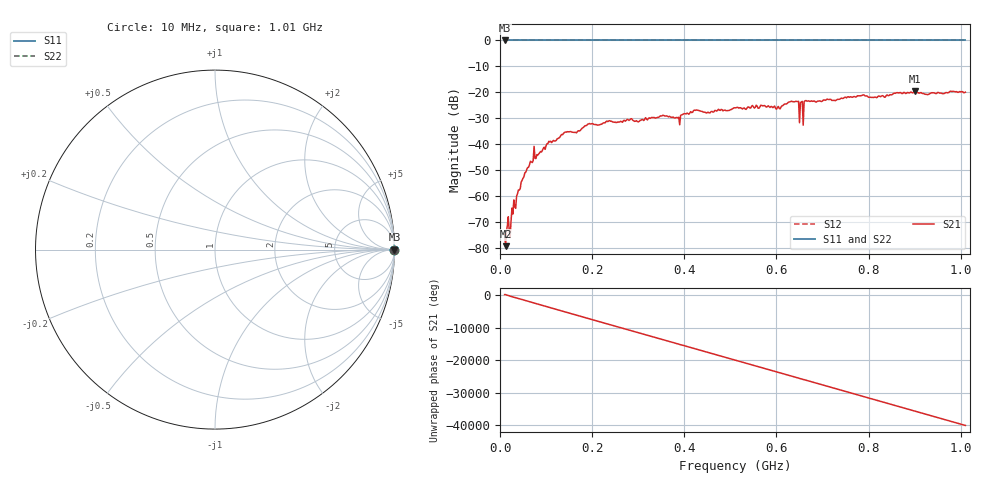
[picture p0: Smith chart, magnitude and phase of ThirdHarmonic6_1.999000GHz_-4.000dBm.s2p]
! 8/17/2025 12:00:56 AM
! C:\ANRITSUVNA\TEMP\TEMP.S2P
! CHANNEL.1
! TR.MEASUREMENT
! RAW.DATA
! RF.CORRECTION.OFF
! AVERAGING.OFF
! IF.BANDWIDTH: 5KHZ
! SWEEPTYPE:  FREQ.SWEEP(Linear)
! Reference Plane Port Info
! PORT:  PORT1  PORT2
! DISTANCE:  0  m  0  m
! TIME:  0  s  0  s
! PHASE.OFFSET:  0  deg.  0  deg.
! LOSS:  0  dB  0  dB
! REF.LOSS:  0  dB  0  dB
! REF.FREQ:  0  Hz  0  Hz
! Power Info
! POWER:  -20  dBm  -20  dBm
! EFF.POWER:  -20  dBm  -20  dBm
! SOURCE.ATTEN:  0  dB  0  dB
! TEST.ATTEN:  0  dB  0  dB
# GHZ S RI R 50.0
! FREQ.GHZ  S11RE  S11IM  S21RE  S21IM  S12RE  S12IM  S22RE  S22IM
!; PortSelection: Port_12
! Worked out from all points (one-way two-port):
!   501 points, 10 MHz to 1.01 GHz, reference 50 ohm
!   highest |S21| = -19.49 dB at 900 MHz (marker M1); lowest = -79.4 dB at 12 MHz (marker M2)
!   lowest |S11| = 0.0 dB at 10 MHz (marker M3)
!   |S11| at or under -10 dB: nowhere
!   |S22| runs from 0.0 to 0.0 dB; largest |S21 - S12| = 1.1
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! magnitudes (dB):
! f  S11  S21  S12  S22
! 10 MHz  0.0  -73.8  0.0  0.0
! 12 MHz  0.0  -79.4  0.0  0.0
! 24 MHz  0.0  -69.6  0.0  0.0
! 28 MHz  0.0  -67.0  0.0  0.0
! 50 MHz  0.0  -53.1  0.0  0.0
! 70 MHz  0.0  -47.1  0.0  0.0
! 138 MHz  0.0  -35.8  0.0  0.0
! 178 MHz  0.0  -33.9  0.0  0.0
! 196 MHz  0.0  -32.2  0.0  0.0
! 344 MHz  0.0  -29.7  0.0  0.0
! 386 MHz  0.0  -29.9  0.0  0.0
! 424 MHz  0.0  -27.0  0.0  0.0
! 452 MHz  0.0  -27.7  0.0  0.0
! 510 MHz  0.0  -26.0  0.0  0.0
! 604 MHz  0.0  -25.5  0.0  0.0
! 644 MHz  0.0  -23.5  0.0  0.0
! 654 MHz  0.0  -23.7  0.0  0.0
! 664 MHz  0.0  -23.2  0.0  0.0
! 678 MHz  0.0  -23.5  0.0  0.0
! 844 MHz  0.0  -21.3  0.0  0.0
! 900 MHz  0.0  -19.5  0.0  0.0
! 1.01 GHz  0.0  -20.0  0.0  0.0
